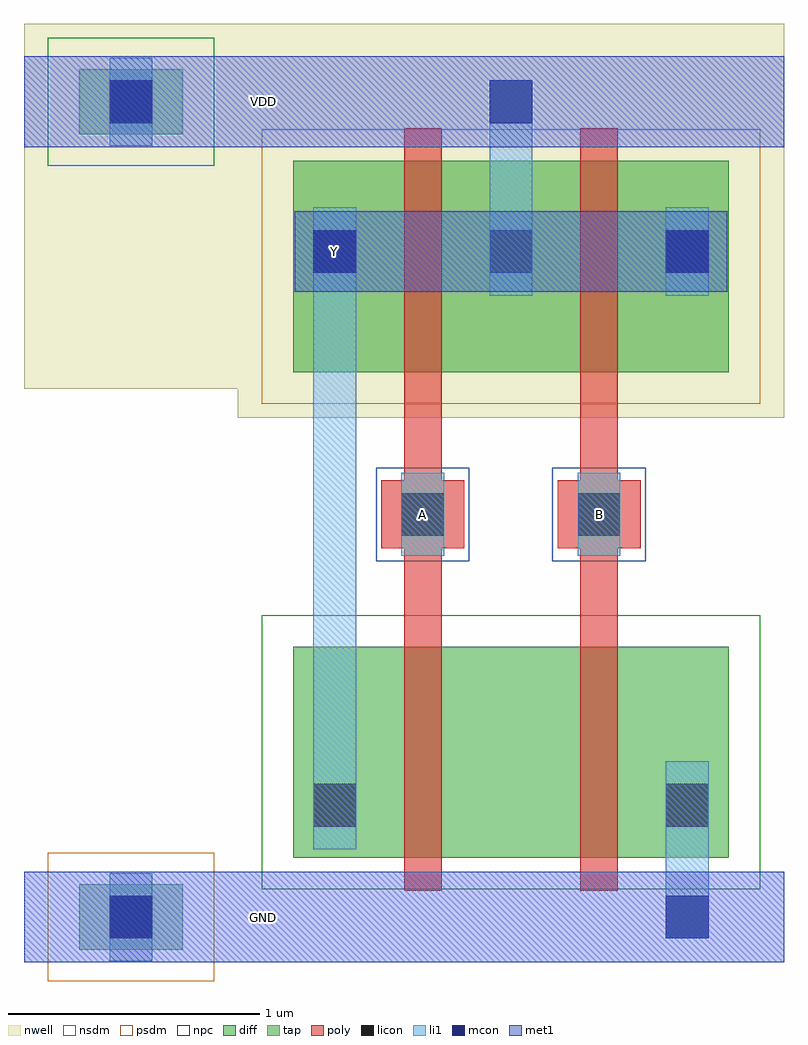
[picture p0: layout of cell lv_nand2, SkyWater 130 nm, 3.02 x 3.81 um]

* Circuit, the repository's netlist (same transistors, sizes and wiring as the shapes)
* NGSPICE file created from lv_nand2.ext - technology: sky130A

.subckt nand2 A B Y VDD GND w_0_397# VSUBS
X0 GND B a_162_47# VSUBS sky130_fd_pr__nfet_01v8 ad=0.3696 pd=2.56 as=0.231 ps=1.39 w=0.84 l=0.15
X1 Y B VDD w_0_397# sky130_fd_pr__pfet_01v8 ad=0.3696 pd=2.56 as=0.231 ps=1.39 w=0.84 l=0.15
X2 VDD A Y w_0_397# sky130_fd_pr__pfet_01v8 ad=0.231 pd=1.39 as=0.3696 ps=2.56 w=0.84 l=0.15
X3 a_162_47# A Y VSUBS sky130_fd_pr__nfet_01v8 ad=0.231 pd=1.39 as=0.3696 ps=2.56 w=0.84 l=0.15
.ends

.subckt lv_nand2 A B Y VDD GND
Xu A B Y VDD GND VDD GND nand2
.ends

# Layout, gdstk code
import gdstk
lib = gdstk.Library(unit=1e-6, precision=1e-09)
def R(c, l, rs):  # rectangles x0, y0, x1, y1
    for r in rs: c.add(gdstk.rectangle(r[:2], r[2:], *l))
def A(c, l, x, y, w, h, nx, ny, dx, dy):  # array of equal rectangles
    R(c, l, [(x+i*dx, y+j*dy, x+i*dx+w, y+j*dy+h) for i in range(nx) for j in range(ny)])
nwell = (64, 20)
diff = (65, 20)
tap = (65, 44)
poly = (66, 20)
licon = (66, 44)
li1 = (67, 20)
mcon = (67, 44)
met1 = (68, 20)
nsdm = (93, 44)
psdm = (94, 20)
npc = (95, 20)

nand2 = lib.new_cell('nand2')
R(nand2, nwell, [(0,1.985,2.17,3.55)])
R(nand2, diff, [(0.22,0.235,1.95,1.075), (0.22,2.165,1.95,3.005)])
R(nand2, poly, [(0.66,0.105,0.81,1.465), (1.36,0.105,1.51,1.465), (0.57,1.465,0.9,1.735), (1.27,1.465,1.6,1.735), (0.66,1.735,0.81,3.135), (1.36,1.735,1.51,3.135)])
A(nand2, licon, 0.3, 2.56, 0.17, 0.17, 3, 1, 0.7, 0)
R(nand2, licon, [(0.3,0.36,0.47,0.53), (1.7,0.36,1.87,0.53), (0.65,1.515,0.82,1.685), (1.35,1.515,1.52,1.685)])
R(nand2, li1, [(1.7,-0.085,1.87,0.62), (0.3,0.27,0.47,2.82), (0.65,1.435,0.82,1.765), (1.35,1.435,1.52,1.765), (1,2.47,1.17,3.325), (1.7,2.47,1.87,2.82)])
R(nand2, mcon, [(1.7,-0.085,1.87,0.085), (0.3,2.56,0.47,2.73), (1.7,2.56,1.87,2.73), (1,3.155,1.17,3.325)])
R(nand2, met1, [(0,-0.18,2.17,0.18), (0.225,2.485,1.945,2.805), (0,3.06,2.17,3.42)])
R(nand2, nsdm, [(0.095,0.11,2.075,1.2)])
R(nand2, psdm, [(0.095,2.04,2.075,3.13)])
R(nand2, npc, [(0.55,1.415,0.92,1.785), (1.25,1.415,1.62,1.785)])
nand2.add(gdstk.Label('A', (0.735,1.6), layer=67, texttype=5))
nand2.add(gdstk.Label('B', (1.435,1.6), layer=67, texttype=5))
nand2.add(gdstk.Label('Y', (0.385,2.645), layer=68, texttype=5))
nand2.add(gdstk.Label('VDD', (0.1,3.24), layer=68, texttype=5))
nand2.add(gdstk.Label('GND', (0.1,0), layer=68, texttype=5))

tap_ = lib.new_cell('tap')
R(tap_, nwell, [(0,2.1,0.85,3.55)])
R(tap_, tap, [(0.22,-0.13,0.63,0.13), (0.22,3.11,0.63,3.37)])
R(tap_, licon, [(0.34,-0.085,0.51,0.085), (0.34,3.155,0.51,3.325)])
R(tap_, li1, [(0.34,-0.175,0.51,0.175), (0.34,3.065,0.51,3.415)])
R(tap_, mcon, [(0.34,-0.085,0.51,0.085), (0.34,3.155,0.51,3.325)])
R(tap_, met1, [(0,-0.18,0.85,0.18), (0,3.06,0.85,3.42)])
R(tap_, nsdm, [(0.095,2.985,0.755,3.495)])
R(tap_, psdm, [(0.095,-0.255,0.755,0.255)])
tap_.add(gdstk.Label('VDD', (0.1,3.24), layer=68, texttype=5))
tap_.add(gdstk.Label('GND', (0.1,0), layer=68, texttype=5))

lv_nand2 = lib.new_cell('lv_nand2')
R(lv_nand2, li1, [(1.5,1.515,1.67,1.685), (2.2,1.515,2.37,1.685)])
R(lv_nand2, met1, [(0.865,-0.085,1.035,0.085), (1.15,2.56,1.32,2.73), (0.865,3.155,1.035,3.325)])
lv_nand2.add(gdstk.Reference(nand2, (0.85,0)))
lv_nand2.add(gdstk.Reference(tap_, (0,0)))
lv_nand2.add(gdstk.Label('A', (1.585,1.6), layer=67, texttype=5))
lv_nand2.add(gdstk.Label('B', (2.285,1.6), layer=67, texttype=5))
lv_nand2.add(gdstk.Label('Y', (1.235,2.645), layer=68, texttype=5))
lv_nand2.add(gdstk.Label('VDD', (0.95,3.24), layer=68, texttype=5))
lv_nand2.add(gdstk.Label('GND', (0.95,0), layer=68, texttype=5))

lib.write_gds('lv_nand2.gds')
